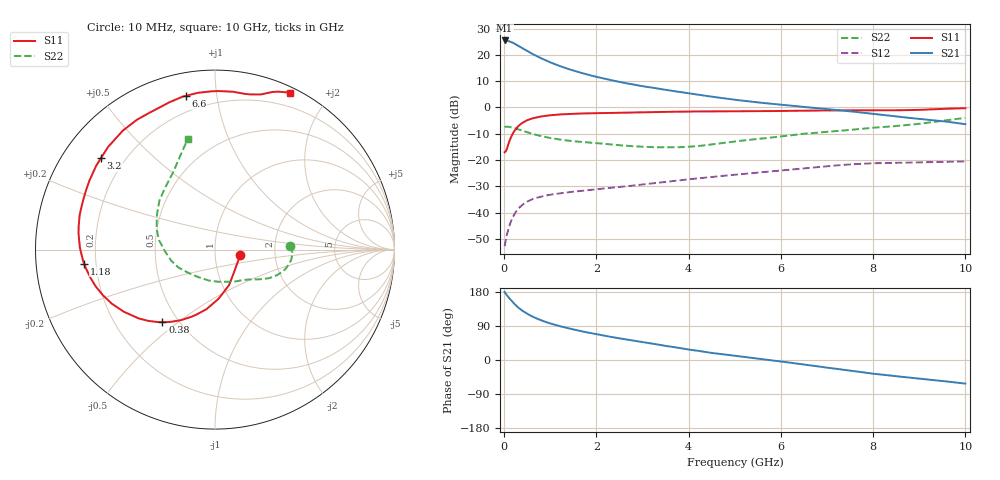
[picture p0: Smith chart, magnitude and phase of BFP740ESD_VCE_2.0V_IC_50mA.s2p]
! Infineon Technologies  Discrete & RF Semiconductors
! BFP740ESD
! VCE =  2.0 V,  IC =  50 mA
! Common Emitter S-Parameters:  Jan 2016
# GHz  S  MA  R  50
!  f  S11  S21  S12  S22
! GHz  MAG  ANG  MAG  ANG  MAG  ANG  MAG  ANG
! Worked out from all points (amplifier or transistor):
!   233 points, 10 MHz to 10 GHz, reference 50 ohm
!   highest |S21| = 25.5 dB at 10 MHz (marker M1)
!   |S21| within 3 dB of that: start of sweep to 402.8 MHz
!   unconditionally stable (mu >= 1): start of sweep to 9.619 GHz
!   at 200 MHz: K = 2.52, MAG = 26.1 dB, |S12| = -41.3 dB
!   at 1.74 GHz: K = 1.57, MAG = 17.8 dB, |S12| = -31.6 dB
!   at 10 GHz: K = 0.75, MSG = 7.1 dB, |S12| = -20.5 dB
!   S11 on the Smith chart (normalised r, x): 10 MHz: 1.32, -0.08; 380 MHz: 0.41, -0.44; 1.18 GHz: 0.15, -0.05; 3.2 GHz: 0.11, +0.35; 6.6 GHz: 0.11, +0.82; 10 GHz: 0.05, +1.58
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0.01  0.1409 -12.8  18.84 179.6  0.0023 40.0  0.421 2.9
0.02  0.1428 -19.3  18.74 177.1  0.0025 30.4  0.4301 -0.7
0.05  0.1562 -43.5  18.64 172.6  0.0035 41.3  0.4325 -3.3
0.1  0.2126 -68.3  18.32 164.7  0.0051 51.5  0.4289 -7.5
0.15  0.2741 -85.7  17.65 157.4  0.0069 55.6  0.4201 -11.2
0.2  0.3346 -98.0  16.86 150.7  0.0086 56.3  0.4097 -14.6
0.3  0.4357 -115.6  15.08 139.1  0.0117 53.8  0.3853 -20.2
0.38  0.4991 -126.0  13.7 131.5  0.0137 51.2  0.3655 -23.8
0.5  0.5722 -137.9  11.88 121.8  0.0162 47.4  0.3377 -28.2
0.6  0.6152 -145.8  10.61 115.2  0.0178 44.7  0.3178 -30.9
0.7  0.6489 -152.3  9.543 109.7  0.0191 42.6  0.3007 -33.4
0.9  0.6953 -162.8  7.881 100.3  0.0211 39.5  0.274 -37.3
1.18  0.7338 -173.9  6.268 90.1  0.0231 37.3  0.2471 -42.4
1.68  0.7686 171.6  4.537 75.8  0.026 36.5  0.2206 -51.6
2.4  0.7904 155.6  3.197 59.2  0.0302 37.6  0.195 -66.6
3.2  0.8143 141.3  2.386 43.5  0.0359 38.8  0.1763 -91.3
3.4  0.8213 137.9  2.235 39.4  0.0376 38.9  0.1752 -98.3
5.1  0.8454 115.4  1.37 9.7  0.0535 34.6  0.2312 -156.5
6.6  0.8718 100.8  1.005 -13.6  0.0711 25.9  0.3212 168.3
6.8  0.8746 98.5  0.967 -16.8  0.0738 24.1  0.3321 164.4
8.4  0.8834 79.1  0.689 -41.5  0.0882 6.6  0.4371 130.4
10  0.9695 64.5  0.481 -62.3  0.094 -7.4  0.6356 103.8
